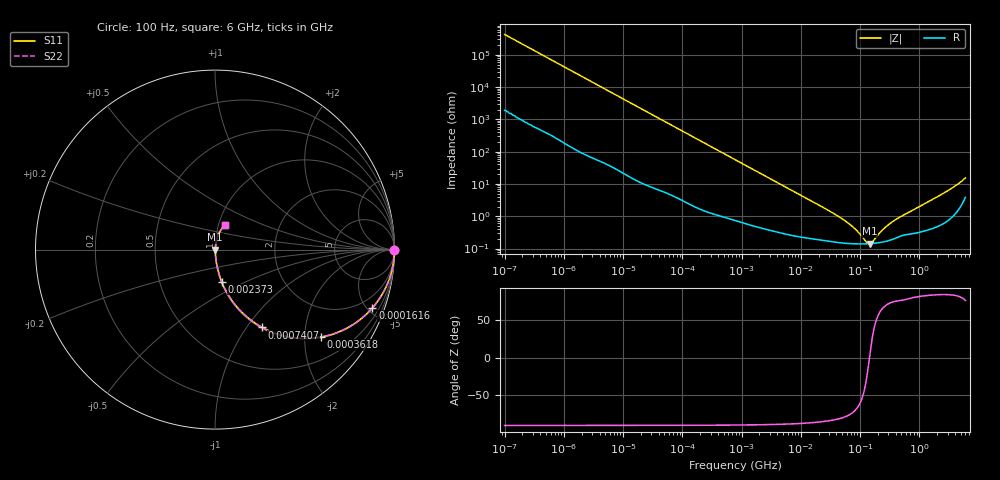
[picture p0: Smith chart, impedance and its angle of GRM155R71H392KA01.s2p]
!Murata Part Number: GRM155R71H392KA01
!These Parameters are Measured in Series Mode Connection
!Data Generated on Mar 30, 2021
!  o--ll--o
!Port1  Port2
!  o------o
!Operation Temp=25[degC], DC Bias Voltage=0[V]
!Freq. Start=100[Hz] Stop=6[GHz] 401[Steps]
# Hz S RI R 50
!Freq.(Hz) S11(Real) S11(Imag) S21(Real) S21(Imag) S12(Real) S12(Imag) S22(Real) S22(Imag)
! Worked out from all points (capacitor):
!   401 points, 100 Hz to 6 GHz, reference 50 ohm
!   read as one part in series: C = 3.73 nF near 109 Hz
!   lowest |Z| = 142 mohm at 145.9 MHz (marker M1)
!   series resonance near 144.2 MHz, so ESL is about 330 pH
!   S11 on the Smith chart (normalised r, x): 100 Hz: open; 161.6 kHz: 1.04, -5.39; 361.8 kHz: 1.02, -2.41; 740.7 kHz: 1.02, -1.18; 2.373 MHz: 1.01, -0.37; 6 GHz: 1.08, +0.30
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100  1 -0.000235  1.1e-06 0.000235  1.1e-06 0.000235  1 -0.000235
2008  1 -0.00468  4.17e-05 0.00468  4.17e-05 0.00468  1 -0.00468
40335  0.9909 -0.0922  0.00914 0.0922  0.00914 0.0922  0.9909 -0.0922
90302  0.9574 -0.1986  0.0426 0.1986  0.0426 0.1986  0.9574 -0.1986
161617  0.8773 -0.3245  0.1227 0.3245  0.1227 0.3245  0.8773 -0.3245
361830  0.5923 -0.4868  0.4077 0.4868  0.4077 0.4868  0.5923 -0.4868
740679  0.2623 -0.4335  0.7377 0.4335  0.7377 0.4335  0.2623 -0.4335
774597  0.2458 -0.4241  0.7542 0.4241  0.7542 0.4241  0.2458 -0.4241
1267578  0.1115 -0.3068  0.8885 0.3068  0.8885 0.3068  0.1115 -0.3068
2372521  0.0373 -0.1788  0.9627 0.1788  0.9627 0.1788  0.0373 -0.1788
5311619  0.00977 -0.0829  0.9902 0.0829  0.9902 0.0829  0.00977 -0.0829
1.555665e7  0.00281 -0.0286  0.9972 0.0286  0.9972 0.0286  0.00281 -0.0286
5.960426e7  0.00148 -0.00645  0.9985 0.00645  0.9985 0.00645  0.00148 -0.00645
8.527865e7  0.0014 -0.00354  0.9986 0.00354  0.9986 0.00354  0.0014 -0.00354
1.275994e8  0.0014 -0.00079  0.9986 0.00079  0.9986 0.00079  0.0014 -0.00079
1.459435e8  0.00141 7.78e-05  0.9986 -7.78e-05  0.9986 -7.78e-05  0.00141 7.78e-05
1.596157e8  0.00143 0.000656  0.9986 -0.000656  0.9986 -0.000656  0.00143 0.000656
2.283698e8  0.00156 0.00306  0.9984 -0.00306  0.9984 -0.00306  0.00156 0.00306
3.124326e8  0.00181 0.00542  0.9982 -0.00542  0.9982 -0.00542  0.00181 0.00542
4.674818e8  0.00243 0.00901  0.9976 -0.00901  0.9976 -0.00901  0.00243 0.00901
2.142435e9  0.00673 0.0418  0.9933 -0.0418  0.9933 -0.0418  0.00673 0.0418
6e9  0.0567 0.136  0.9433 -0.136  0.9433 -0.136  0.0567 0.136
